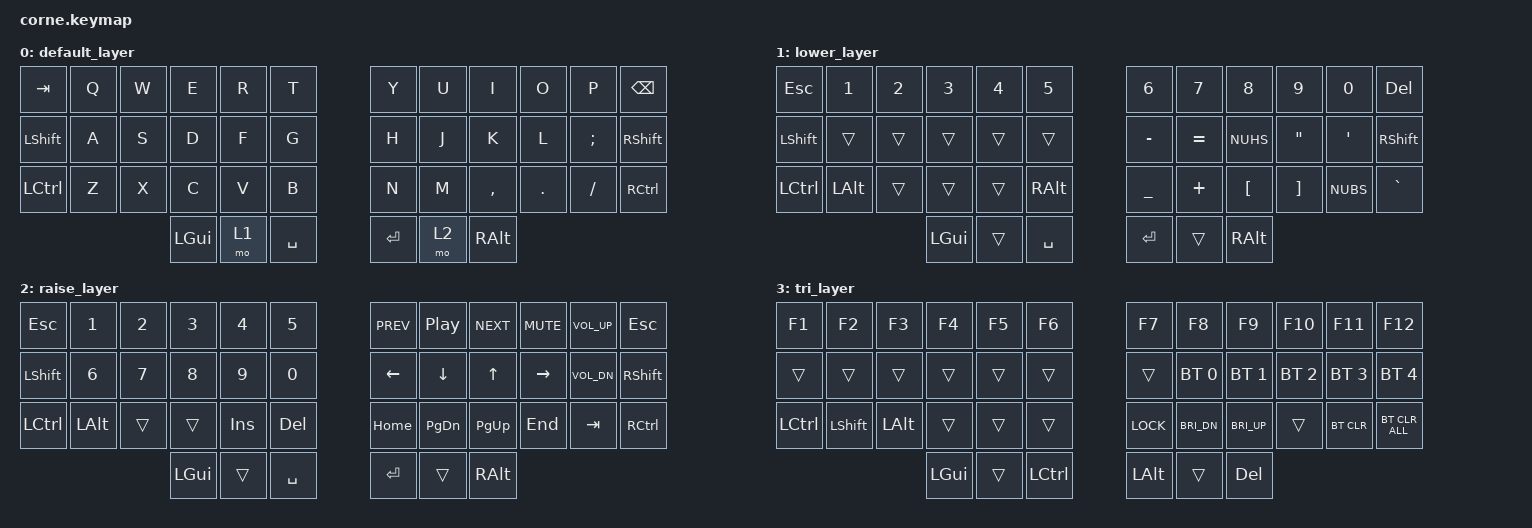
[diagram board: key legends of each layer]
/*
 * Copyright (c) 2020 The ZMK Contributors
 *
 * SPDX-License-Identifier: MIT
 */

#include <behaviors.dtsi>
#include <dt-bindings/zmk/keys.h>
#include <dt-bindings/zmk/bt.h>

#define ___ &trans


/ {
	conditional_layers {
		compatible = "zmk,conditional-layers";
		tri_layer {
			if-layers = <1 2>;
			then-layer = <3>;
		};
	};

	keymap {
    	compatible = "zmk,keymap";

		default_layer {
        	bindings = <
     // ╭─────────────┬─────────────┬─────────────┬─────────────┬─────────────┬─────────────╮   ╭─────────────┬─────────────┬─────────────┬─────────────┬─────────────┬─────────────╮
            &kp TAB        &kp Q         &kp W         &kp E         &kp R         &kp T             &kp Y         &kp U         &kp I         &kp O        &kp P         &kp BSPC
     // ├─────────────┼─────────────┼─────────────┼─────────────┼─────────────┼─────────────┤   ├─────────────┼─────────────┼─────────────┼─────────────┼─────────────┼─────────────┤
            &kp LSHFT      &kp A         &kp S         &kp D         &kp F         &kp G             &kp H         &kp J         &kp K         &kp L        &kp SEMI      &kp RSHFT
     // ├─────────────┼─────────────┼─────────────┼─────────────┼─────────────┼─────────────┤   ├─────────────┼─────────────┼─────────────┼─────────────┼─────────────┼─────────────┤
            &kp LCTRL      &kp Z         &kp X         &kp C         &kp V         &kp B             &kp N         &kp M        &kp COMMA      &kp DOT      &kp FSLH      &kp RCTRL
     // ╰─────────────┴─────────────┴─────────────┼─────────────┼─────────────┼─────────────┤   ├─────────────┼─────────────┼─────────────┼─────────────┴─────────────┴─────────────╯
                                                      &kp LGUI       &mo 1         &kp SPACE         &kp RET       &mo 2        &kp RALT
     //                                           ╰─────────────┴─────────────┴─────────────╯   ╰─────────────┴─────────────┴─────────────╯
			>;
		};

		lower_layer {
			bindings = <
     // ╭─────────────┬─────────────┬─────────────┬─────────────┬─────────────┬─────────────╮   ╭─────────────┬─────────────┬─────────────┬─────────────┬─────────────┬─────────────╮
           &kp ESC         &kp N1        &kp N2        &kp N3        &kp N4        &kp N5            &kp N6       &kp N7        &kp N8        &kp N9       &kp N0        &kp DEL
     // ├─────────────┼─────────────┼─────────────┼─────────────┼─────────────┼─────────────┤   ├─────────────┼─────────────┼─────────────┼─────────────┼─────────────┼─────────────┤
           &kp LSHFT        ___           ___           ___           ___           ___            &kp MINUS      &kp EQUAL    &kp NUHS       &kp DQT      &kp SQT       &kp RSHFT   
     // ├─────────────┼─────────────┼─────────────┼─────────────┼─────────────┼─────────────┤   ├─────────────┼─────────────┼─────────────┼─────────────┼─────────────┼─────────────┤
           &kp LCTRL     &kp LALT         ___           ___           ___         &kp RALT         &kp UNDER     &kp PLUS     &kp LBKT      &kp RBKT      &kp NUBS      &kp GRAVE  
     // ╰─────────────┴─────────────┴─────────────┼─────────────┼─────────────┼─────────────┤   ├─────────────┼─────────────┼─────────────┼─────────────┴─────────────┴─────────────╯
                                                      &kp LGUI        ___        &kp SPACE          &kp RET         ___        &kp RALT
     //                                           ╰─────────────┴─────────────┴─────────────╯   ╰─────────────┴─────────────┴─────────────╯
			>;
		};

		raise_layer {
			bindings = <
     // ╭─────────────┬─────────────┬─────────────┬─────────────┬─────────────┬─────────────╮   ╭─────────────┬─────────────┬─────────────┬─────────────┬─────────────┬─────────────╮
           &kp ESC        &kp N1        &kp N2        &kp N3        &kp N4        &kp N5          &kp C_PREV     &kp C_PP     &kp C_NEXT    &kp C_MUTE    &kp C_VOL_UP    &kp ESC
     // ├─────────────┼─────────────┼─────────────┼─────────────┼─────────────┼─────────────┤   ├─────────────┼─────────────┼─────────────┼─────────────┼─────────────┼─────────────┤
           &kp LSHFT      &kp N6        &kp N7        &kp N8        &kp N9        &kp N0            &kp LEFT      &kp DOWN      &kp UP       &kp RIGHT    &kp C_VOL_DN   &kp RSHFT   
     // ├─────────────┼─────────────┼─────────────┼─────────────┼─────────────┼─────────────┤   ├─────────────┼─────────────┼─────────────┼─────────────┼─────────────┼─────────────┤
           &kp LCTRL      &kp LALT       ___           ___          &kp INS       &kp DEL           &kp HOME   &kp PAGE_DOWN  &kp PAGE_UP     &kp END       &kp TAB      &kp RCTRL
     // ╰─────────────┴─────────────┴─────────────┼─────────────┼─────────────┼─────────────┤   ├─────────────┼─────────────┼─────────────┼─────────────┴─────────────┴─────────────╯
                                                     &kp LGUI        ___         &kp SPACE          &kp RET        ___         &kp RALT
     //                                           ╰─────────────┴─────────────┴─────────────╯   ╰─────────────┴─────────────┴─────────────╯
			>;
		};

		tri_layer {
			bindings = <
     // ╭─────────────┬─────────────┬─────────────┬─────────────┬─────────────┬─────────────╮   ╭─────────────┬─────────────┬─────────────┬─────────────┬─────────────┬─────────────╮
            &kp F1        &kp F2        &kp F3        &kp F4        &kp F5        &kp F6            &kp F7        &kp F8        &kp F9        &kp F10       &kp F11       &kp F12  
     // ├─────────────┼─────────────┼─────────────┼─────────────┼─────────────┼─────────────┤   ├─────────────┼─────────────┼─────────────┼─────────────┼─────────────┼─────────────┤
              ___           ___           ___           ___           ___           ___              ___       &bt BT_SEL 0  &bt BT_SEL 1  &bt BT_SEL 2  &bt BT_SEL 3  &bt BT_SEL 4 
     // ├─────────────┼─────────────┼─────────────┼─────────────┼─────────────┼─────────────┤   ├─────────────┼─────────────┼─────────────┼─────────────┼─────────────┼─────────────┤
	   &kp LCTRL     &kp LSHFT     &kp LALT         ___           ___           ___            &kp K_LOCK   &kp C_BRI_DN  &kp C_BRI_UP      ___       &bt BT_CLR   &bt BT_CLR_ALL
     // ╰─────────────┴─────────────┴─────────────┼─────────────┼─────────────┼─────────────┤   ├─────────────┼─────────────┼─────────────┼─────────────┴─────────────┴─────────────╯
                                                     &kp LGUI         ___        &kp LCTRL         &kp LALT         ___         &kp DEL
     //                                           ╰─────────────┴─────────────┴─────────────╯   ╰─────────────┴─────────────┴─────────────╯
			>;
		};

	};
};

